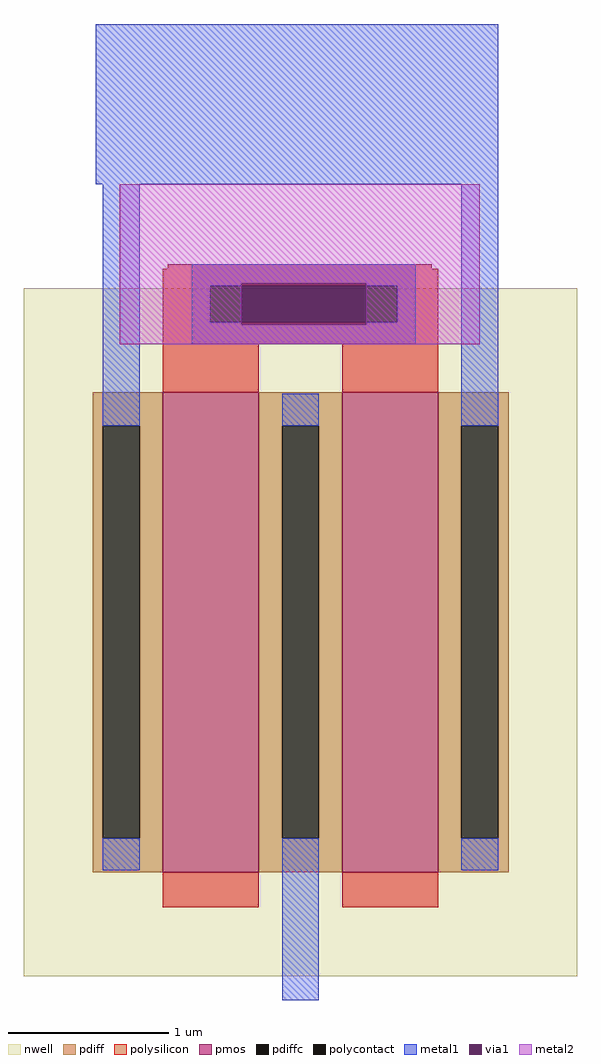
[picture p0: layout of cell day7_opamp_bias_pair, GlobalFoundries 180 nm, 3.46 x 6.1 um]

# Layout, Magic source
magic
tech gf180mcuD
magscale 1 10
<< nwell >>
rect 3240 -1890 3932 -1030
<< pmos >>
rect 3414 -1760 3534 -1160
rect 3638 -1760 3758 -1160
<< pdiff >>
rect 3326 -1202 3414 -1160
rect 3326 -1718 3339 -1202
rect 3385 -1718 3414 -1202
rect 3326 -1760 3414 -1718
rect 3534 -1202 3638 -1160
rect 3534 -1718 3563 -1202
rect 3609 -1718 3638 -1202
rect 3534 -1760 3638 -1718
rect 3758 -1202 3846 -1160
rect 3758 -1718 3787 -1202
rect 3833 -1718 3846 -1202
rect 3758 -1760 3846 -1718
<< pdiffc >>
rect 3339 -1718 3385 -1202
rect 3563 -1718 3609 -1202
rect 3787 -1718 3833 -1202
<< polysilicon >>
rect 3420 -1006 3750 -1000
rect 3414 -1027 3758 -1006
rect 3414 -1073 3473 -1027
rect 3707 -1073 3758 -1027
rect 3414 -1100 3758 -1073
rect 3414 -1160 3534 -1100
rect 3638 -1160 3758 -1100
rect 3414 -1804 3534 -1760
rect 3638 -1804 3758 -1760
<< polycontact >>
rect 3473 -1073 3707 -1027
<< metal1 >>
rect 3330 -900 3833 -700
rect 3339 -1202 3385 -900
rect 3450 -1024 3730 -1000
rect 3450 -1027 3512 -1024
rect 3668 -1027 3730 -1024
rect 3450 -1073 3473 -1027
rect 3707 -1073 3730 -1027
rect 3450 -1076 3512 -1073
rect 3668 -1076 3730 -1073
rect 3450 -1100 3730 -1076
rect 3339 -1758 3385 -1718
rect 3563 -1202 3609 -1162
rect 3563 -1920 3609 -1718
rect 3787 -1202 3833 -900
rect 3787 -1758 3833 -1718
<< via1 >>
rect 3512 -1027 3668 -1024
rect 3512 -1073 3668 -1027
rect 3512 -1076 3668 -1073
<< metal2 >>
rect 3360 -1024 3810 -900
rect 3360 -1076 3512 -1024
rect 3668 -1076 3810 -1024
rect 3360 -1100 3810 -1076
<< end >>
